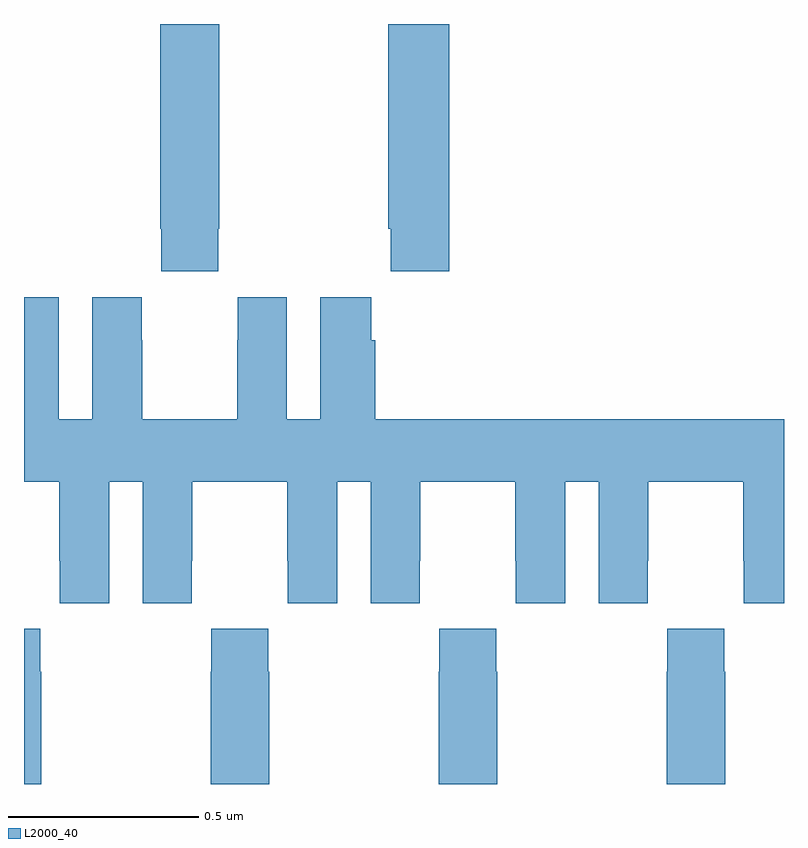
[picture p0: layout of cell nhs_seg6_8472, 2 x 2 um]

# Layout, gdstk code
import gdstk
lib = gdstk.Library(unit=1e-6, precision=1e-09)
def P(c, l, *ps):  # polygons
    for p in ps: c.add(gdstk.Polygon(p, *l))
L2000_40 = (2000, 40)

nhs_seg6_8472 = lib.new_cell('nhs_seg6_8472')
P(nhs_seg6_8472, L2000_40, [(221.511,987.961),(221.514,987.961),(221.514,988.5),(221.359,988.5),(221.359,987.961),(221.361,987.961),(221.361,987.849),(221.511,987.849)],
  [(222.119,988.5),(221.959,988.5),(221.959,987.961),(221.965,987.961),(221.965,987.849),(222.119,987.849)],
  [(221.693,987.088),(221.694,987.088),(221.694,986.976),(221.824,986.976),(221.824,987.296),(221.912,987.296),(221.912,986.976),(222.042,986.976),(222.042,987.088),(222.043,987.088),(222.043,987.296),(222.293,987.296),(222.293,987.088),(222.294,987.088),(222.294,986.976),(222.424,986.976),(222.424,987.296),(222.512,987.296),(222.512,986.976),(222.642,986.976),(222.642,987.088),(222.643,987.088),(222.643,987.296),(222.893,987.296),(222.893,987.088),(222.894,987.088),(222.894,986.976),(223,986.976),(223,987.46),(221.924,987.46),(221.924,987.668),(221.914,987.668),(221.914,987.781),(221.78,987.781),(221.78,987.46),(221.692,987.46),(221.692,987.781),(221.562,987.781),(221.562,987.668),(221.561,987.668),(221.561,987.46),(221.311,987.46),(221.311,987.668),(221.31,987.668),(221.31,987.781),(221.18,987.781),(221.18,987.46),(221.092,987.46),(221.092,987.781),(221,987.781),(221,987.296),(221.093,987.296),(221.093,987.088),(221.094,987.088),(221.094,986.976),(221.224,986.976),(221.224,987.296),(221.312,987.296),(221.312,986.976),(221.442,986.976),(221.442,987.088),(221.443,987.088),(221.443,987.296),(221.693,987.296)],
  [(221.646,986.795),(221.643,986.795),(221.643,986.908),(221.493,986.908),(221.493,986.795),(221.491,986.795),(221.491,986.5),(221.646,986.5)],
  [(222.246,986.795),(222.243,986.795),(222.243,986.908),(222.093,986.908),(222.093,986.795),(222.091,986.795),(222.091,986.5),(222.246,986.5)],
  [(222.846,986.795),(222.843,986.795),(222.843,986.908),(222.693,986.908),(222.693,986.795),(222.691,986.795),(222.691,986.5),(222.846,986.5)],
  [(221.046,986.795),(221.043,986.795),(221.043,986.908),(221,986.908),(221,986.5),(221.046,986.5)])

lib.write_gds('nhs_seg6_8472.gds')
